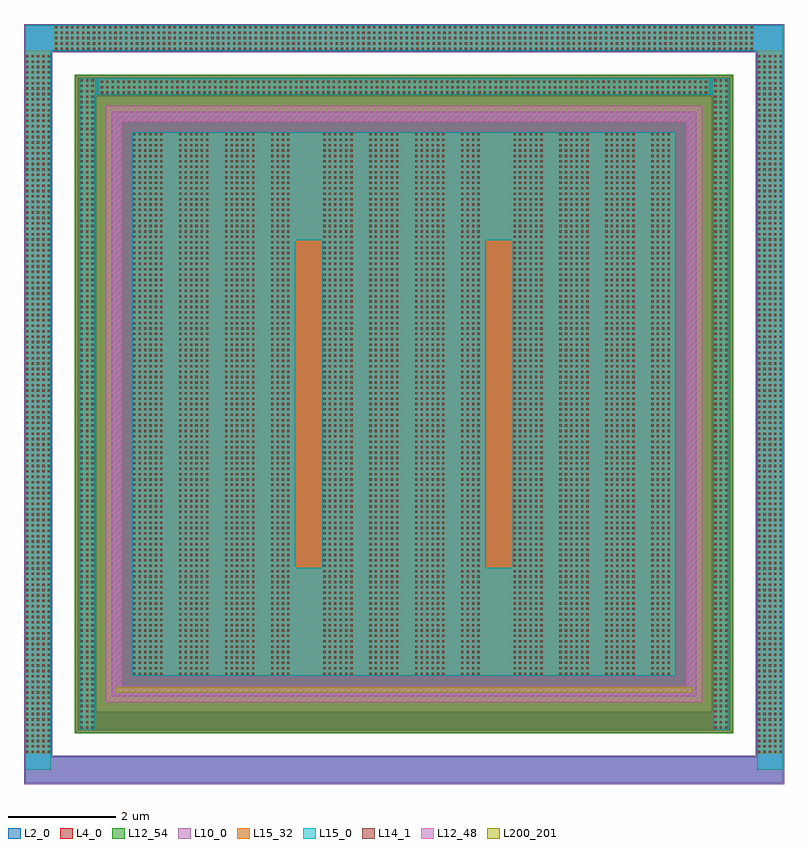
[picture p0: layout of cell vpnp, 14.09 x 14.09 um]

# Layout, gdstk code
import gdstk
lib = gdstk.Library(unit=1e-6, precision=1e-09)
def R(c, l, rs):  # rectangles x0, y0, x1, y1
    for r in rs: c.add(gdstk.rectangle(r[:2], r[2:], *l))
def A(c, l, x, y, w, h, nx, ny, dx, dy):  # array of equal rectangles
    R(c, l, [(x+i*dx, y+j*dy, x+i*dx+w, y+j*dy+h) for i in range(nx) for j in range(ny)])
L2_0 = (2, 0)
L4_0 = (4, 0)
L10_0 = (10, 0)
L12_48 = (12, 48)
L12_54 = (12, 54)
L14_1 = (14, 1)
L15_0 = (15, 0)
L15_32 = (15, 32)
L200_201 = (200, 201)

vpnp = lib.new_cell('vpnp')
R(vpnp, L2_0, [(-13.529,-5.559,0.523,-5.079), (-13.529,-5.079,-13.049,8.013), (0.043,-5.079,0.523,8.013), (-12.549,-4.579,-0.457,-4.239), (-12.549,-4.239,-12.209,7.173), (-0.797,-4.239,-0.457,7.173), (-11.853,-3.883,-1.153,6.817), (-12.549,7.173,-0.457,7.513), (-13.529,8.013,0.523,8.493)])
R(vpnp, L4_0, [(-12.605,-4.635,-0.401,7.569)])
R(vpnp, L10_0, [(-13.55,-5.58,0.544,-5.058), (-13.55,-5.058,-13.028,7.992), (0.022,-5.058,0.544,7.992), (-11.923,-3.953,-1.083,6.887), (-13.55,7.992,0.544,8.514)])
R(vpnp, L12_48, [(-12.034,-4.064,-0.972,-3.758), (-12.034,-3.758,-11.728,6.692), (-1.278,-3.758,-0.972,6.692), (-12.034,6.692,-0.972,6.998)])
R(vpnp, L12_54, [(-12.605,-4.635,-0.401,7.569)])
A(vpnp, L14_1, -13.509, -5.003, 0.04, 0.04, 5, 130, 0.1, 0.1)
A(vpnp, L14_1, 0.063, -5.003, 0.04, 0.04, 5, 130, 0.1, 0.1)
A(vpnp, L14_1, -12.499, -4.553, 0.04, 0.04, 3, 121, 0.1, 0.1)
A(vpnp, L14_1, -0.747, -4.553, 0.04, 0.04, 3, 121, 0.1, 0.1)
A(vpnp, L14_1, -11.523, -3.553, 0.04, 0.04, 6, 101, 0.1, 0.1)
A(vpnp, L14_1, -10.671, -3.553, 0.04, 0.04, 6, 101, 0.1, 0.1)
A(vpnp, L14_1, -9.819, -3.553, 0.04, 0.04, 6, 101, 0.1, 0.1)
A(vpnp, L14_1, -8.967, -3.553, 0.04, 0.04, 4, 101, 0.1, 0.1)
A(vpnp, L14_1, -7.997, -3.553, 0.04, 0.04, 6, 101, 0.1, 0.1)
A(vpnp, L14_1, -7.145, -3.553, 0.04, 0.04, 6, 101, 0.1, 0.1)
A(vpnp, L14_1, -6.293, -3.553, 0.04, 0.04, 6, 101, 0.1, 0.1)
A(vpnp, L14_1, -5.441, -3.553, 0.04, 0.04, 4, 101, 0.1, 0.1)
A(vpnp, L14_1, -4.472, -3.553, 0.04, 0.04, 6, 101, 0.1, 0.1)
A(vpnp, L14_1, -3.62, -3.553, 0.04, 0.04, 6, 101, 0.1, 0.1)
A(vpnp, L14_1, -2.768, -3.553, 0.04, 0.04, 6, 101, 0.1, 0.1)
A(vpnp, L14_1, -1.916, -3.553, 0.04, 0.04, 4, 101, 0.1, 0.1)
A(vpnp, L14_1, -12.123, 7.223, 0.04, 0.04, 113, 3, 0.1, 0.1)
A(vpnp, L14_1, -12.973, 8.033, 0.04, 0.04, 130, 5, 0.1, 0.1)
R(vpnp, L15_0, [(-13.527,-5.319,-13.051,8.491), (0.045,-5.319,0.521,8.491), (-12.517,-4.571,-12.241,7.505), (-0.765,-4.571,-0.489,7.505), (-11.541,-3.571,-1.465,-1.571), (-11.541,-1.571,-8.516,4.505), (-8.015,-1.571,-4.99,4.505), (-4.49,-1.571,-1.465,4.505), (-11.541,4.505,-1.465,6.505), (-12.241,7.205,-0.765,7.505), (-13.051,8.015,0.045,8.491)])
R(vpnp, L15_32, [(-13.527,-5.021,-13.051,8.015), (0.045,-5.021,0.521,8.015), (-12.517,-4.571,-12.241,7.505), (-0.765,-4.571,-0.489,7.505), (-11.541,-3.571,-1.465,6.505), (-12.141,7.205,-0.865,7.481), (-12.991,8.015,-0.015,8.491)])
R(vpnp, L200_201, [(-11.853,-3.883,-1.153,-3.783)])

lib.write_gds('vpnp.gds')
